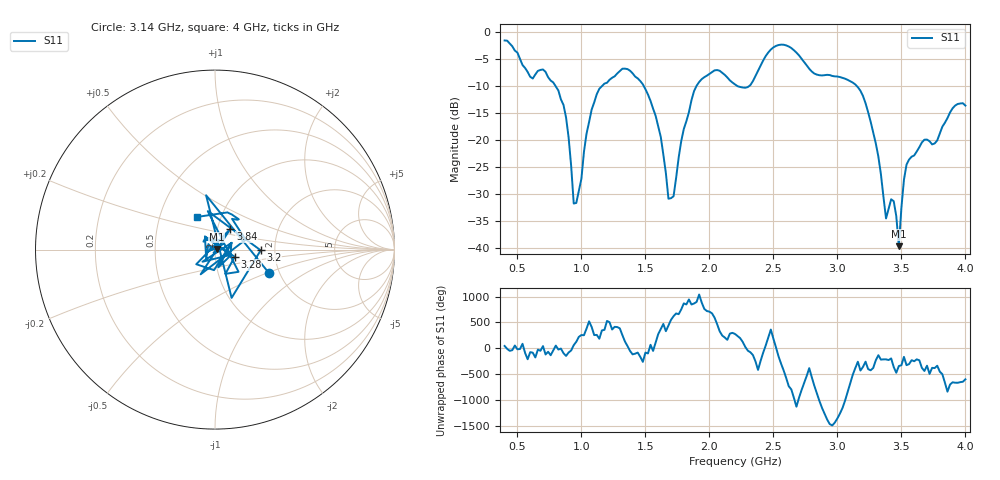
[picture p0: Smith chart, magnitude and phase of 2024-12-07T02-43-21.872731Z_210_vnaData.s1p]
!Created with skrf (http://scikit-rf.org).
# Hz S RI R 50.0
!freq ReS11 ImS11
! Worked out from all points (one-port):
!   181 points, 400 MHz to 4 GHz, reference 50 ohm
!   lowest |S11| = -39.7 dB at 3.48 GHz (marker M1), VSWR 1.02, Z = 51 + j0.293 ohm
!   |S11| at or under -10 dB: 797 MHz to 1.163 GHz (365.7 MHz wide, 37.3 % of centre); 1.486 GHz to 1.9 GHz (413.7 MHz wide, 24.4 % of centre); 3.15 GHz to end of sweep (the widest 3 of 4)
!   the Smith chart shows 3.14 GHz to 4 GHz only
!   S11 on the Smith chart (normalised r, x): 3.14 GHz: 1.76, -0.51; 3.2 GHz: 1.68, -0.01; 3.28 GHz: 1.24, -0.10; 3.84 GHz: 1.15, +0.27; 4 GHz: 0.77, +0.29
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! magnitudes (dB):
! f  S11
! 400 MHz  -1.6
! 860 MHz  -13.5
! 900 MHz  -19.5
! 940 MHz  -31.8
! 960 MHz  -31.7
! 1.08 GHz  -14.4
! 1.3 GHz  -7.3
! 1.54 GHz  -12.8
! 1.62 GHz  -19.4
! 1.68 GHz  -30.9
! 1.72 GHz  -30.4
! 1.76 GHz  -23.2
! 1.92 GHz  -9.3
! 2.2 GHz  -9.7
! 2.32 GHz  -9.9
! 2.52 GHz  -2.6
! 2.66 GHz  -3.4
! 3.1 GHz  -9.2
! 3.14 GHz  -9.8
! 3.2 GHz  -11.9
! 3.28 GHz  -18.7
! 3.38 GHz  -34.5
! 3.44 GHz  -31.3
! 3.48 GHz  -39.7
! 3.52 GHz  -27.4
! 3.56 GHz  -23.6
! 3.84 GHz  -16.8
! 4 GHz  -13.7
